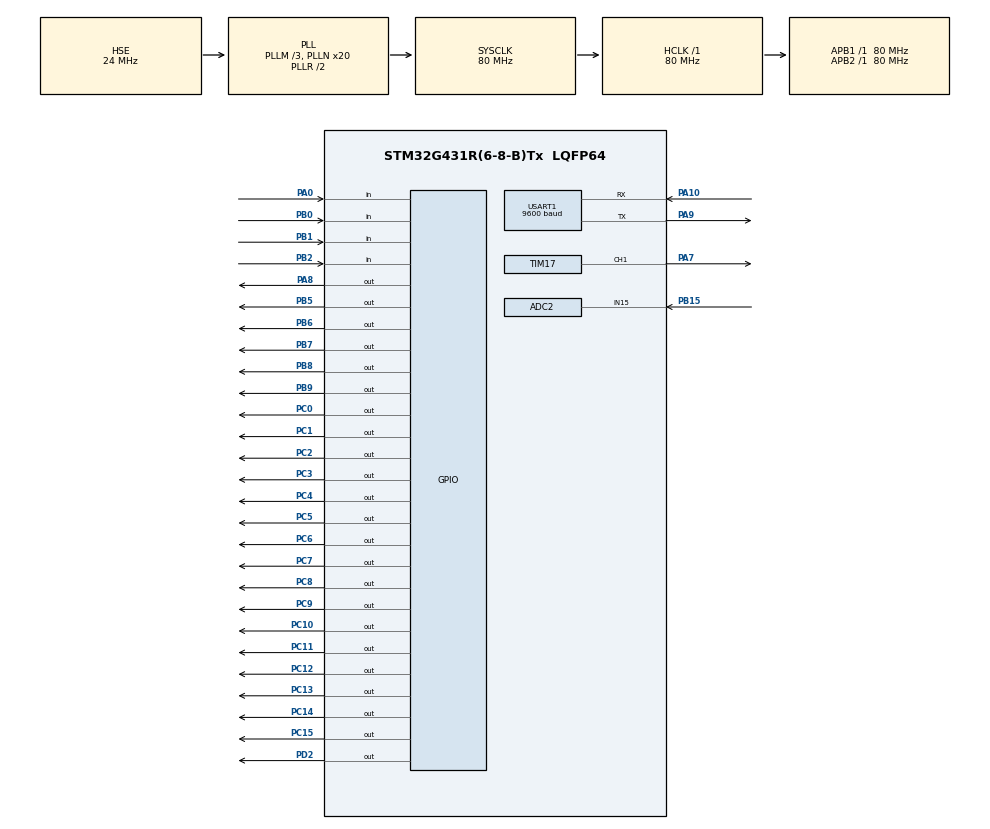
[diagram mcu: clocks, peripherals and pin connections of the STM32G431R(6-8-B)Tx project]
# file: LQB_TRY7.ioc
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ADC2.Channel-0\#ChannelRegularConversion=ADC_CHANNEL_15
ADC2.NbrOfConversionFlag=1
ADC2.OffsetNumber-0\#ChannelRegularConversion=ADC_OFFSET_NONE
ADC2.Rank-0\#ChannelRegularConversion=1
ADC2.SamplingTime-0\#ChannelRegularConversion=ADC_SAMPLETIME_2CYCLES_5
Mcu.Family=STM32G4
Mcu.Name=STM32G431R(6-8-B)Tx
Mcu.Package=LQFP64
NVIC.PriorityGroup=NVIC_PRIORITYGROUP_4
NVIC.TIM6_DAC_IRQn=true\:0\:0\:false\:false\:true\:true\:true
NVIC.USART1_IRQn=true\:0\:0\:false\:false\:true\:true\:true
PA0.GPIO_Mode=GPIO_MODE_INPUT
PA0.GPIO_PuPd=GPIO_PULLUP
PA0.Signal=GPIO_Input
PA10.Mode=Asynchronous
PA10.Signal=USART1_RX
PA13.Mode=Serial_Wire
PA13.Signal=SYS_JTMS-SWDIO
PA14.Mode=Serial_Wire
PA14.Signal=SYS_JTCK-SWCLK
PA7.Signal=S_TIM17_CH1
PA8.Signal=GPIO_Output
PA9.Mode=Asynchronous
PA9.Signal=USART1_TX
PB0.GPIO_Mode=GPIO_MODE_INPUT
PB0.GPIO_PuPd=GPIO_PULLUP
PB0.Signal=GPIO_Input
PB1.GPIO_Mode=GPIO_MODE_INPUT
PB1.GPIO_PuPd=GPIO_PULLUP
PB1.Signal=GPIO_Input
PB15.Mode=IN15-Single-Ended
PB15.Signal=ADC2_IN15
PB2.GPIO_Mode=GPIO_MODE_INPUT
PB2.GPIO_PuPd=GPIO_PULLUP
PB2.Signal=GPIO_Input
PB5.Signal=GPIO_Output
PB6.Signal=GPIO_Output
PB7.Signal=GPIO_Output
PB8-BOOT0.Signal=GPIO_Output
PB9.Signal=GPIO_Output
PC0.Signal=GPIO_Output
PC1.Signal=GPIO_Output
PC10.Signal=GPIO_Output
PC11.Signal=GPIO_Output
PC12.Signal=GPIO_Output
PC13.Signal=GPIO_Output
PC14-OSC32_IN.Signal=GPIO_Output
PC15-OSC32_OUT.Signal=GPIO_Output
PC2.Signal=GPIO_Output
PC3.Signal=GPIO_Output
PC4.Signal=GPIO_Output
PC5.Signal=GPIO_Output
PC6.Signal=GPIO_Output
PC7.Signal=GPIO_Output
PC8.Signal=GPIO_Output
PC9.Signal=GPIO_Output
PD2.Signal=GPIO_Output
PF0-OSC_IN.Mode=HSE-External-Oscillator
PF0-OSC_IN.Signal=RCC_OSC_IN
PF1-OSC_OUT.Mode=HSE-External-Oscillator
PF1-OSC_OUT.Signal=RCC_OSC_OUT
ProjectManager.HeapSize=0x200
ProjectManager.StackSize=0x400
ProjectManager.TargetToolchain=MDK-ARM V5
RCC.ADC12Freq_Value=80000000
RCC.AHBFreq_Value=80000000
RCC.APB1Freq_Value=80000000
RCC.APB1TimFreq_Value=80000000
RCC.APB2Freq_Value=80000000
RCC.APB2TimFreq_Value=80000000
RCC.CortexFreq_Value=80000000
RCC.EXTERNAL_CLOCK_VALUE=12288000
RCC.HCLKFreq_Value=80000000
RCC.HSE_VALUE=24000000
RCC.HSI48_VALUE=48000000
RCC.HSI_VALUE=16000000
RCC.LSE_VALUE=32768
RCC.PLLM=RCC_PLLM_DIV3
RCC.PLLN=20
RCC.PLLSourceVirtual=RCC_PLLSOURCE_HSE
RCC.SYSCLKFreq_VALUE=80000000
RCC.SYSCLKSource=RCC_SYSCLKSOURCE_PLLCLK
RCC.USBFreq_Value=80000000
RCC.VCOOutputFreq_Value=160000000
SH.S_TIM17_CH1.0=TIM17_CH1,PWM Generation1 CH1
TIM17.Channel=TIM_CHANNEL_1
TIM17.PeriodNoDither=99
TIM17.Prescaler=800-1
TIM17.PulseNoDither_1=50
TIM6.PeriodNoDither=999
TIM6.Prescaler=800-1
USART1.BaudRate=9600
USART1.VirtualMode-Asynchronous=VM_ASYNC
USART1.WordLength=WORDLENGTH_8B
VP_SYS_VS_DBSignals.Mode=DisableDeadBatterySignals
VP_TIM17_VS_ClockSourceINT.Mode=Enable_Timer
VP_TIM6_VS_ClockSourceINT.Mode=Enable_Timer
board=custom

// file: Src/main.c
/* USER CODE BEGIN Header */
/**
  ******************************************************************************
  * @file           : main.c
  * @brief          : Main program body
  ******************************************************************************
  * @attention
  *
  * <h2><center>&copy; Copyright (c) 2023 STMicroelectronics.
  * All rights reserved.</center></h2>
  *
  * This software component is licensed by ST under BSD 3-Clause license,
  * the "License"; You may not use this file except in compliance with the
  * License. You may obtain a copy of the License at:
  *                        opensource.org/licenses/BSD-3-Clause
  *
  ******************************************************************************
  */
/* USER CODE END Header */
#include "main.h"
#include "adc.h"
#include "tim.h"
#include "usart.h"
#include "gpio.h"

/* USER CODE BEGIN Includes */
#include "i2c_hal.h"
#include "lcd.h"
#include "mint.h"
#include "stdio.h"
#include "string.h"

/* USER CODE END Includes */

/* USER CODE BEGIN PV */
extern keys key[4];

bool page=0,flag1=0,flag2=0,flag3=0;

char text[30],rxdat,text1[20];
extern int dtime,dtime1,dtime2,dtime3;

uint8_t Height=0,Level=4,Level_l=4,TH[3] = {10,20,30},Line=0;
double adc_val=0;

/* USER CODE END PV */

void SystemClock_Config(void);
/* USER CODE BEGIN PFP */
void LCD_Proc(void);
void KEY_Proc(void);
/* USER CODE END PFP */

int main(void)
{

  /* MCU Configuration--------------------------------------------------------*/

  /* Reset of all peripherals, Initializes the Flash interface and the Systick. */
  HAL_Init();

  /* Configure the system clock */
  SystemClock_Config();

  /* Initialize all configured peripherals */
  MX_GPIO_Init();
  MX_ADC2_Init();
  MX_TIM6_Init();
  MX_USART1_UART_Init();
  MX_TIM17_Init();
  /* USER CODE BEGIN 2 */
	HAL_TIM_Base_Start_IT(&htim6);
	HAL_ADCEx_Calibration_Start(&hadc2,ADC_SINGLE_ENDED);//ADC校准
	HAL_UART_Receive_IT(&huart1,(unsigned char *)&rxdat,1);
	LED_Proc(1,0);
//	HAL_TIM_PWM_Start(&htim17,TIM_CHANNEL_1);
	//LCD初始化
	LCD_Init();
	LCD_Clear(White);
	LCD_SetBackColor(White);
	LCD_SetTextColor(Black);
	//初始化I2C写入
	if(eeprom_read(0)<eeprom_read(1) && eeprom_read(1)<eeprom_read(2) && eeprom_read(2)<100)
	{
		TH[0] = eeprom_read(0);
		TH[1] = eeprom_read(1);
		TH[2] = eeprom_read(2);
	}

  /* USER CODE END 2 */

  /* Infinite loop */
  /* USER CODE BEGIN WHILE */
  while (1)
  {
		LCD_Proc();
		KEY_Proc();
    /* USER CODE END WHILE */

  }
}

void SystemClock_Config(void)
{
  RCC_OscInitTypeDef RCC_OscInitStruct = {0};
  RCC_ClkInitTypeDef RCC_ClkInitStruct = {0};
  RCC_PeriphCLKInitTypeDef PeriphClkInit = {0};

  /** Configure the main internal regulator output voltage
  */
  HAL_PWREx_ControlVoltageScaling(PWR_REGULATOR_VOLTAGE_SCALE1);
  /** Initializes the RCC Oscillators according to the specified parameters
  * in the RCC_OscInitTypeDef structure.
  */
  RCC_OscInitStruct.OscillatorType = RCC_OSCILLATORTYPE_HSE;
  RCC_OscInitStruct.HSEState = RCC_HSE_ON;
  RCC_OscInitStruct.PLL.PLLState = RCC_PLL_ON;
  RCC_OscInitStruct.PLL.PLLSource = RCC_PLLSOURCE_HSE;
  RCC_OscInitStruct.PLL.PLLM = RCC_PLLM_DIV3;
  RCC_OscInitStruct.PLL.PLLN = 20;
  RCC_OscInitStruct.PLL.PLLP = RCC_PLLP_DIV2;
  RCC_OscInitStruct.PLL.PLLQ = RCC_PLLQ_DIV2;
  RCC_OscInitStruct.PLL.PLLR = RCC_PLLR_DIV2;
  if (HAL_RCC_OscConfig(&RCC_OscInitStruct) != HAL_OK)
  {
    Error_Handler();
  }
  /** Initializes the CPU, AHB and APB buses clocks
  */
  RCC_ClkInitStruct.ClockType = RCC_CLOCKTYPE_HCLK|RCC_CLOCKTYPE_SYSCLK
                              |RCC_CLOCKTYPE_PCLK1|RCC_CLOCKTYPE_PCLK2;
  RCC_ClkInitStruct.SYSCLKSource = RCC_SYSCLKSOURCE_PLLCLK;
  RCC_ClkInitStruct.AHBCLKDivider = RCC_SYSCLK_DIV1;
  RCC_ClkInitStruct.APB1CLKDivider = RCC_HCLK_DIV1;
  RCC_ClkInitStruct.APB2CLKDivider = RCC_HCLK_DIV1;

  if (HAL_RCC_ClockConfig(&RCC_ClkInitStruct, FLASH_LATENCY_2) != HAL_OK)
  {
    Error_Handler();
  }
  /** Initializes the peripherals clocks
  */
  PeriphClkInit.PeriphClockSelection = RCC_PERIPHCLK_USART1|RCC_PERIPHCLK_ADC12;
  PeriphClkInit.Usart1ClockSelection = RCC_USART1CLKSOURCE_PCLK2;
  PeriphClkInit.Adc12ClockSelection = RCC_ADC12CLKSOURCE_SYSCLK;
  if (HAL_RCCEx_PeriphCLKConfig(&PeriphClkInit) != HAL_OK)
  {
    Error_Handler();
  }
}

/* USER CODE BEGIN 4 */
/**************************************显示模块**************************************/
void LCD_Proc(void)
{
	if(page == 0)
	{
		flag1 = 1;
		LCD_DisplayStringLine(Line1,(u8 *)"    Liquid Level    ");
		sprintf(text,"  Threshold1:%dcm   ",Height);
		LCD_DisplayStringLine(Line4,(u8 *)text);
		sprintf(text,"     ADC:%.2fV      ",adc_val);
		LCD_DisplayStringLine(Line6,(u8 *)text);
		sprintf(text,"       Level:%d      ",Level);
		LCD_DisplayStringLine(Line8,(u8 *)text);
	}
	else if(page == 1)
	{
		//此页面为设置页面，认为不工作，进行相应操作
		flag1 = 0;
		dtime1 = 1;
		LED_Proc(1,0);
		//page1显示部分
		LCD_DisplayStringLine(Line1,(u8 *)"   Paramter Setup   ");
		sprintf(text,"  Threshold1:%dcm   ",TH[0]);
		if(Line == 0) LCD_SetTextColor(Green);
		LCD_DisplayStringLine(Line4,(u8 *)text);
		LCD_SetTextColor(Black);

		sprintf(text,"  Threshold1:%dcm   ",TH[1]);
		if(Line == 1) LCD_SetTextColor(Green);
		LCD_DisplayStringLine(Line6,(u8 *)text);
		LCD_SetTextColor(Black);

		sprintf(text,"  Threshold1:%dcm   ",TH[2]);
		if(Line == 2) LCD_SetTextColor(Green);
		LCD_DisplayStringLine(Line8,(u8 *)text);
		LCD_SetTextColor(Black);
	}
	else page = 0;
	//等级判断、等级变化判断部分
	if(Level !=4 && Level_l != 4)
	{
		if(Level_l>Level)
		{
			flag2 = 1;
			dtime2 = 0;
			sprintf(text1,"A:H%d+L%d+D\r\n",Height,Level);
			HAL_UART_Transmit(&huart1,(unsigned char *)text1,strlen(text1),50);
		}
		else if(Level_l<Level)
		{
			flag2 = 1;
			dtime2 = 0;
			sprintf(text1,"A:H%d+L%d+U\r\n",Height,Level);
			HAL_UART_Transmit(&huart1,(unsigned char *)text1,strlen(text1),50);
		}
	}
	Level_l = Level;
	if(Height<=TH[0]) Level = 0;
	else if(Height>TH[0] && Height<=TH[1]) Level = 1;
	else if(Height>TH[1] && Height<=TH[2]) Level = 2;
	else if(Height>TH[2]) Level = 3;

}
/**************************************按键模块**************************************/
void KEY_Proc(void)
{
	if(key[0].single_sta == 1)
	{
		page = (page == 0)?1:0;
		if(page == 0) for(int j=0;j<3;j++)
		{
			eeprom_write(j,TH[j]);
			HAL_Delay(10);
		}
		key[0].single_sta = 0;
	}
	if(key[1].single_sta == 1)
	{
		if(page == 1) Line = Line == 2?0:Line+1;
		key[1].single_sta = 0;
	}
	if(key[2].single_sta == 1)
	{
		if(page == 1) TH[Line] = TH[Line]>=95?TH[Line]:TH[Line]+5;
		key[2].single_sta = 0;
	}
	if(key[3].single_sta == 1)
	{
		if(page == 1) TH[Line] = TH[Line]<=5?TH[Line]:TH[Line]-5;
		key[3].single_sta = 0;
	}
}
/**************************************ADC读值部分**************************************/
double GetADCValue(void)
{
	double adc;
	HAL_ADC_Start(&hadc2);
	adc = HAL_ADC_GetValue(&hadc2);
	adc = adc*3.3/4095;
	return adc;
}
/**************************************LED模块**************************************/
void LED_Proc(unsigned char led,unsigned char sta)
{
	static unsigned char LED_STATE = 0xff;
	if(sta == 0) LED_STATE |= (GPIO_PIN_0 << (led - 1));
	else LED_STATE &= ~(GPIO_PIN_0 << (led - 1));

	GPIOC->ODR = LED_STATE << 8;
	HAL_GPIO_WritePin(GPIOD,GPIO_PIN_2,GPIO_PIN_SET);
	HAL_GPIO_WritePin(GPIOD,GPIO_PIN_2,GPIO_PIN_RESET);
}
/**************************************串口回调函数**************************************/
void HAL_UART_RxCpltCallback(UART_HandleTypeDef *huart)
{
	if(rxdat == 'C')
	{
		flag3 = 1;
		dtime3 = 0;
		sprintf(text1,"C:H%d+L%d\r\n",(int)(adc_val*100/3.3),Level);
		HAL_UART_Transmit(huart,(unsigned char *)text1,strlen(text1),50);
	}
	else if(rxdat == 'S')
	{
		flag3 = 1;
		dtime3 = 0;
		sprintf(text1,"S:TL%d+TM%d+TH%d\r\n",TH[0],TH[1],TH[2]);
		HAL_UART_Transmit(huart,(unsigned char *)text1,strlen(text1),50);
	}
	else;
	HAL_UART_Receive_IT(huart,(unsigned char *)&rxdat,1);
}

/* USER CODE END 4 */

void Error_Handler(void)
{
}

/************************ (C) COPYRIGHT STMicroelectronics *****END OF FILE****/
